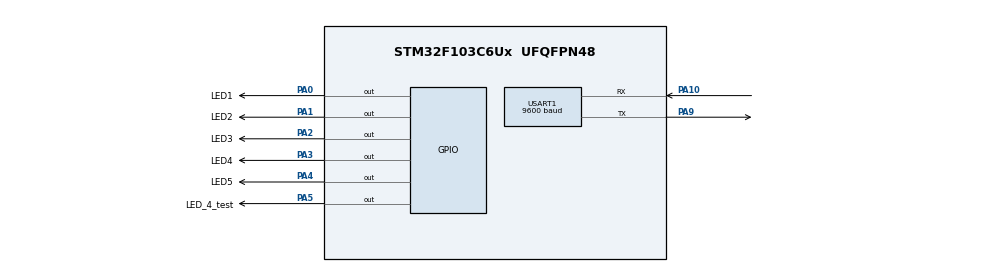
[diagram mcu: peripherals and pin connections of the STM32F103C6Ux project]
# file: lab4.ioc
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Mcu.Family=STM32F1
Mcu.Name=STM32F103C6Ux
Mcu.Package=UFQFPN48
NVIC.PriorityGroup=NVIC_PRIORITYGROUP_4
NVIC.TIM2_IRQn=true\:0\:0\:false\:false\:true\:true\:true
NVIC.USART1_IRQn=true\:0\:0\:false\:false\:true\:true\:true
PA0-WKUP.GPIO_Label=LED1
PA0-WKUP.Signal=GPIO_Output
PA1.GPIO_Label=LED2
PA1.Signal=GPIO_Output
PA10.Mode=Asynchronous
PA10.Signal=USART1_RX
PA2.GPIO_Label=LED3
PA2.Signal=GPIO_Output
PA3.GPIO_Label=LED4
PA3.Signal=GPIO_Output
PA4.GPIO_Label=LED5
PA4.Signal=GPIO_Output
PA5.GPIO_Label=LED_4_test
PA5.Signal=GPIO_Output
PA9.Mode=Asynchronous
PA9.Signal=USART1_TX
ProjectManager.HeapSize=0x200
ProjectManager.StackSize=0x400
ProjectManager.TargetToolchain=STM32CubeIDE
RCC.APB1Freq_Value=8000000
RCC.APB2Freq_Value=8000000
TIM2.Period=9
TIM2.Prescaler=7999
USART1.BaudRate=9600
USART1.VirtualMode=VM_ASYNC
VP_SYS_VS_ND.Mode=No_Debug
VP_TIM2_VS_ClockSourceINT.Mode=Internal
board=custom

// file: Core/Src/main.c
/* USER CODE BEGIN Header */
/**
  ******************************************************************************
  * @file           : main.c
  * @brief          : Main program body
  ******************************************************************************
  * @attention
  *
  * <h2><center>&copy; Copyright (c) 2024 STMicroelectronics.
  * All rights reserved.</center></h2>
  *
  * This software component is licensed by ST under BSD 3-Clause license,
  * the "License"; You may not use this file except in compliance with the
  * License. You may obtain a copy of the License at:
  *                        opensource.org/licenses/BSD-3-Clause
  *
  ******************************************************************************
  */
/* USER CODE END Header */
#include "main.h"
#include "stdio.h"
#include "string.h"
/* USER CODE BEGIN Includes */
#include "led_display.h"
#include "scheduler.h"
/* USER CODE END Includes */

TIM_HandleTypeDef htim2;

UART_HandleTypeDef huart1;

void SystemClock_Config(void);
static void MX_TIM2_Init(void);
static void MX_GPIO_Init(void);
static void MX_USART1_UART_Init(void);

/* USER CODE BEGIN 0 */
uint8_t temp = 0;
void HAL_UART_RxCpltCallback(UART_HandleTypeDef *huart) {
	if(huart->Instance == USART1) {
		HAL_UART_Receive_IT(&huart1, &temp, 1);
		HAL_UART_Transmit(&huart1, &temp, 1, 50);
	}
}
void timePrint(void) {
	char str[100];
	HAL_UART_Transmit(&huart1, (void*)str, sprintf(str, "%lu\r\n", HAL_GetTick()), 10);
}
/* USER CODE END 0 */

int main(void)
{

  /* MCU Configuration--------------------------------------------------------*/

  /* Reset of all peripherals, Initializes the Flash interface and the Systick. */
  HAL_Init();

  /* Configure the system clock */
  SystemClock_Config();

  /* Initialize all configured peripherals */
  MX_TIM2_Init();
  MX_GPIO_Init();
  MX_USART1_UART_Init();
  /* USER CODE BEGIN 2 */
  HAL_TIM_Base_Start_IT (& htim2 ) ;
  HAL_UART_Receive_IT(&huart1, &temp, 1);
  SCH_Add_Task(led1, 5, 50);
  SCH_Add_Task(led2, 10, 100);
  SCH_Add_Task(led3, 15, 150);
  SCH_Add_Task(led4, 20, 200);
  SCH_Add_Task(led5, 25, 250);
  SCH_Add_Task(timePrint, 0, 1);
  /* USER CODE END 2 */

  /* Infinite loop */
  while (1)
  {

    /* USER CODE BEGIN 3 */
	  SCH_Dispatch_Tasks();
  }
  /* USER CODE END 3 */
}

void SystemClock_Config(void)
{
  RCC_OscInitTypeDef RCC_OscInitStruct = {0};
  RCC_ClkInitTypeDef RCC_ClkInitStruct = {0};

  /** Initializes the RCC Oscillators according to the specified parameters
  * in the RCC_OscInitTypeDef structure.
  */
  RCC_OscInitStruct.OscillatorType = RCC_OSCILLATORTYPE_HSI;
  RCC_OscInitStruct.HSIState = RCC_HSI_ON;
  RCC_OscInitStruct.HSICalibrationValue = RCC_HSICALIBRATION_DEFAULT;
  RCC_OscInitStruct.PLL.PLLState = RCC_PLL_NONE;
  if (HAL_RCC_OscConfig(&RCC_OscInitStruct) != HAL_OK)
  {
    Error_Handler();
  }
  /** Initializes the CPU, AHB and APB buses clocks
  */
  RCC_ClkInitStruct.ClockType = RCC_CLOCKTYPE_HCLK|RCC_CLOCKTYPE_SYSCLK
                              |RCC_CLOCKTYPE_PCLK1|RCC_CLOCKTYPE_PCLK2;
  RCC_ClkInitStruct.SYSCLKSource = RCC_SYSCLKSOURCE_HSI;
  RCC_ClkInitStruct.AHBCLKDivider = RCC_SYSCLK_DIV1;
  RCC_ClkInitStruct.APB1CLKDivider = RCC_HCLK_DIV1;
  RCC_ClkInitStruct.APB2CLKDivider = RCC_HCLK_DIV1;

  if (HAL_RCC_ClockConfig(&RCC_ClkInitStruct, FLASH_LATENCY_0) != HAL_OK)
  {
    Error_Handler();
  }
}

static void MX_TIM2_Init(void)
{

  TIM_ClockConfigTypeDef sClockSourceConfig = {0};
  TIM_MasterConfigTypeDef sMasterConfig = {0};

  htim2.Instance = TIM2;
  htim2.Init.Prescaler = 7999;
  htim2.Init.CounterMode = TIM_COUNTERMODE_UP;
  htim2.Init.Period = 9;
  htim2.Init.ClockDivision = TIM_CLOCKDIVISION_DIV1;
  htim2.Init.AutoReloadPreload = TIM_AUTORELOAD_PRELOAD_DISABLE;
  if (HAL_TIM_Base_Init(&htim2) != HAL_OK)
  {
    Error_Handler();
  }
  sClockSourceConfig.ClockSource = TIM_CLOCKSOURCE_INTERNAL;
  if (HAL_TIM_ConfigClockSource(&htim2, &sClockSourceConfig) != HAL_OK)
  {
    Error_Handler();
  }
  sMasterConfig.MasterOutputTrigger = TIM_TRGO_RESET;
  sMasterConfig.MasterSlaveMode = TIM_MASTERSLAVEMODE_DISABLE;
  if (HAL_TIMEx_MasterConfigSynchronization(&htim2, &sMasterConfig) != HAL_OK)
  {
    Error_Handler();
  }

}

static void MX_USART1_UART_Init(void)
{

  huart1.Instance = USART1;
  huart1.Init.BaudRate = 9600;
  huart1.Init.WordLength = UART_WORDLENGTH_8B;
  huart1.Init.StopBits = UART_STOPBITS_1;
  huart1.Init.Parity = UART_PARITY_NONE;
  huart1.Init.Mode = UART_MODE_TX_RX;
  huart1.Init.HwFlowCtl = UART_HWCONTROL_NONE;
  huart1.Init.OverSampling = UART_OVERSAMPLING_16;
  if (HAL_UART_Init(&huart1) != HAL_OK)
  {
    Error_Handler();
  }

}

static void MX_GPIO_Init(void)
{
  GPIO_InitTypeDef GPIO_InitStruct = {0};

  /* GPIO Ports Clock Enable */
  __HAL_RCC_GPIOA_CLK_ENABLE();

  /*Configure GPIO pin Output Level */
  HAL_GPIO_WritePin(GPIOA, LED1_Pin|LED2_Pin|LED3_Pin|LED4_Pin
                          |LED5_Pin|LED_4_test_Pin, GPIO_PIN_RESET);

  /*Configure GPIO pins : LED1_Pin LED2_Pin LED3_Pin LED4_Pin
                           LED5_Pin LED_4_test_Pin */
  GPIO_InitStruct.Pin = LED1_Pin|LED2_Pin|LED3_Pin|LED4_Pin
                          |LED5_Pin|LED_4_test_Pin;
  GPIO_InitStruct.Mode = GPIO_MODE_OUTPUT_PP;
  GPIO_InitStruct.Pull = GPIO_NOPULL;
  GPIO_InitStruct.Speed = GPIO_SPEED_FREQ_LOW;
  HAL_GPIO_Init(GPIOA, &GPIO_InitStruct);

}

/* USER CODE BEGIN 4 */
 void HAL_TIM_PeriodElapsedCallback ( TIM_HandleTypeDef * htim )
{
	 SCH_Update();
}
/* USER CODE END 4 */

void Error_Handler(void)
{
  __disable_irq();
  while (1)
  {
  }
}

/************************ (C) COPYRIGHT STMicroelectronics *****END OF FILE****/
